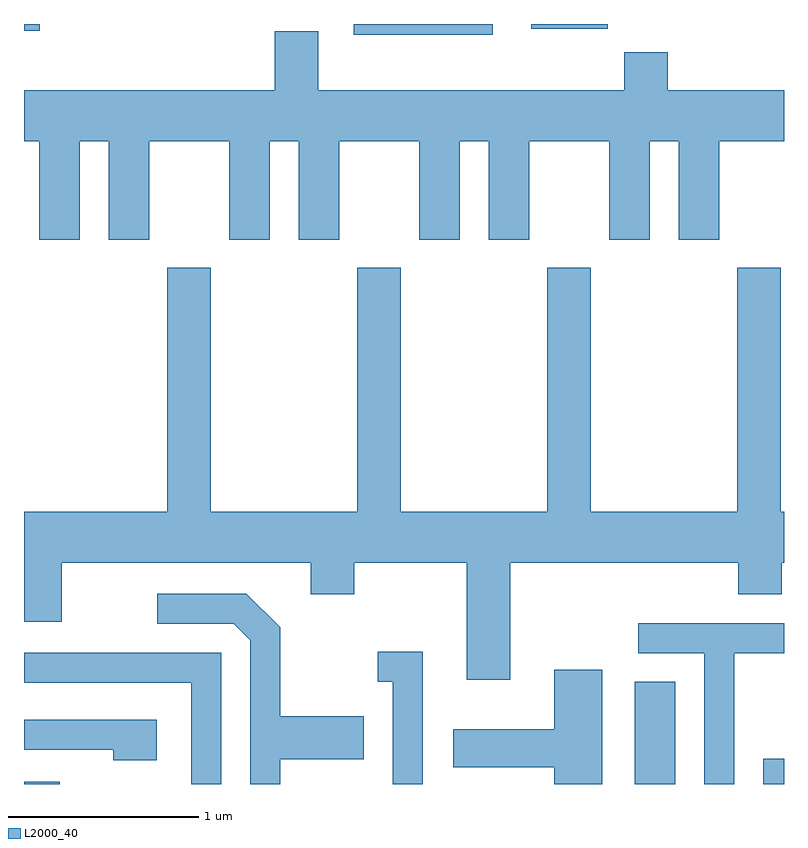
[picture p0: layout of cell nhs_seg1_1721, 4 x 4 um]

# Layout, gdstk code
import gdstk
lib = gdstk.Library(unit=1e-6, precision=1e-09)
def R(c, l, rs):  # rectangles x0, y0, x1, y1
    for r in rs: c.add(gdstk.rectangle(r[:2], r[2:], *l))
def P(c, l, *ps):  # polygons
    for p in ps: c.add(gdstk.Polygon(p, *l))
L2000_40 = (2000, 40)

nhs_seg1_1721 = lib.new_cell('nhs_seg1_1721')
R(nhs_seg1_1721, L2000_40, [(237.611,931.712,237.798,931.724), (240.826,931.712,241.039,932.249), (241.501,931.712,241.611,931.844), (239.346,935.656,240.079,935.712), (237.611,935.676,237.694,935.712), (240.281,935.686,240.684,935.712)])
P(nhs_seg1_1721, L2000_40, [(239.159,935.674),(238.931,935.674),(238.931,935.364),(237.611,935.364),(237.611,935.096),(237.691,935.096),(237.691,934.576),(237.904,934.576),(237.904,935.096),(238.056,935.096),(238.056,934.576),(238.269,934.576),(238.269,935.096),(238.691,935.096),(238.691,934.576),(238.904,934.576),(238.904,935.096),(239.056,935.096),(239.056,934.576),(239.269,934.576),(239.269,935.096),(239.691,935.096),(239.691,934.576),(239.904,934.576),(239.904,935.096),(240.056,935.096),(240.056,934.576),(240.269,934.576),(240.269,935.096),(240.691,935.096),(240.691,934.576),(240.904,934.576),(240.904,935.096),(241.056,935.096),(241.056,934.576),(241.269,934.576),(241.269,935.096),(241.611,935.096),(241.611,935.364),(240.999,935.364),(240.999,935.564),(240.771,935.564),(240.771,935.364),(239.159,935.364)],
  [(239.941,932.261),(240.169,932.261),(240.169,932.876),(241.371,932.876),(241.371,932.711),(241.599,932.711),(241.599,932.876),(241.611,932.876),(241.611,933.144),(241.594,933.144),(241.594,934.429),(241.366,934.429),(241.366,933.144),(240.594,933.144),(240.594,934.429),(240.366,934.429),(240.366,933.144),(239.594,933.144),(239.594,934.429),(239.366,934.429),(239.366,933.144),(238.594,933.144),(238.594,934.429),(238.366,934.429),(238.366,933.144),(237.611,933.144),(237.611,932.566),(237.809,932.566),(237.809,932.876),(239.121,932.876),(239.121,932.711),(239.349,932.711),(239.349,932.876),(239.941,932.876)],
  [(238.959,931.841),(239.399,931.841),(239.399,932.069),(238.959,932.069),(238.959,932.537),(238.782,932.714),(238.313,932.714),(238.313,932.556),(238.714,932.556),(238.801,932.469),(238.801,931.712),(238.959,931.712)],
  [(241.349,932.401),(241.611,932.401),(241.611,932.559),(240.843,932.559),(240.843,932.401),(241.191,932.401),(241.191,931.712),(241.349,931.712)],
  [(239.709,932.409),(239.473,932.409),(239.473,932.251),(239.551,932.251),(239.551,931.712),(239.709,931.712)],
  [(238.649,932.404),(237.611,932.404),(237.611,932.246),(238.491,932.246),(238.491,931.712),(238.649,931.712)],
  [(240.654,932.314),(240.401,932.314),(240.401,931.999),(239.871,931.999),(239.871,931.801),(240.401,931.801),(240.401,931.712),(240.654,931.712)],
  [(238.309,932.049),(237.611,932.049),(237.611,931.891),(238.081,931.891),(238.081,931.836),(238.309,931.836)])

lib.write_gds('nhs_seg1_1721.gds')
